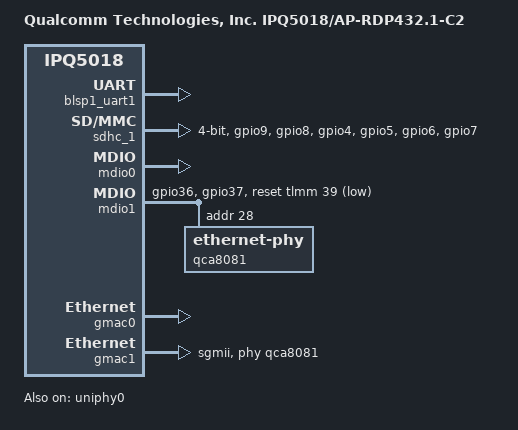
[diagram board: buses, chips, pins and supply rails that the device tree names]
// SPDX-License-Identifier: GPL-2.0+ OR BSD-3-Clause
/*
 * IPQ5018 MP03.1-C2 board device tree source
 *
 * Copyright (c) 2023 The Linux Foundation. All rights reserved.
 */

/dts-v1/;

#include "ipq5018.dtsi"

/ {
	model = "Qualcomm Technologies, Inc. IPQ5018/AP-RDP432.1-C2";
	compatible = "qcom,ipq5018-rdp432-c2", "qcom,ipq5018";

	aliases {
		serial0 = &blsp1_uart1;

		ethernet0 = &gmac0;
		ethernet1 = &gmac1;
	};

	chosen {
		stdout-path = "serial0:115200n8";
	};
};

&blsp1_uart1 {
	pinctrl-0 = <&uart1_pins>;
	pinctrl-names = "default";
	status = "okay";
};

&sdhc_1 {
	pinctrl-0 = <&sdc_default_state>;
	pinctrl-names = "default";
	mmc-ddr-1_8v;
	mmc-hs200-1_8v;
	max-frequency = <192000000>;
	bus-width = <4>;
	status = "okay";
};

&sleep_clk {
	clock-frequency = <32000>;
};

&tlmm {
	mdio1_pins: mdio1_pins {
		mdc {
			pins = "gpio36";
			function = "mdc";
			drive-strength = <8>;
			bias-pull-up;
		};

		mdio {
			pins = "gpio37";
			function = "mdio";
			drive-strength = <8>;
			bias-pull-up;
		};
	};

	sdc_default_state: sdc-default-state {
		clk-pins {
			pins = "gpio9";
			function = "sdc1_clk";
			drive-strength = <8>;
			bias-disable;
		};

		cmd-pins {
			pins = "gpio8";
			function = "sdc1_cmd";
			drive-strength = <8>;
			bias-pull-up;
		};

		data-pins {
			pins = "gpio4", "gpio5", "gpio6", "gpio7";
			function = "sdc1_data";
			drive-strength = <8>;
			bias-disable;
		};
	};
};

&xo_board_clk {
	clock-frequency = <24000000>;
};

&mdio0 {
	status = "ok";
};

&mdio1 {
	pinctrl-0 = <&mdio1_pins>;
	pinctrl-names = "default";
	status = "ok";

	reset-gpios = <&tlmm 39 GPIO_ACTIVE_LOW>;

	qca8081: ethernet-phy@28 {
		reg = <28>;
	};
};

&uniphy0 {
	mode = <QCOM_ETH_UNIPHY_MODE_SGMII>;
	clkout-frequency = <QCOM_ETH_UNIPHY_CLKOUT_FREQ_50M>;
	clkout-drive-strength = <QCOM_ETH_UNIPHY_CLKOUT_DS_1_5V>;
	status = "ok";
};

&gmac0 {
	status = "ok";
};

&gmac1 {
	phy-handle = <&qca8081>;
	phy-mode = "sgmii";
	status = "ok";
};
